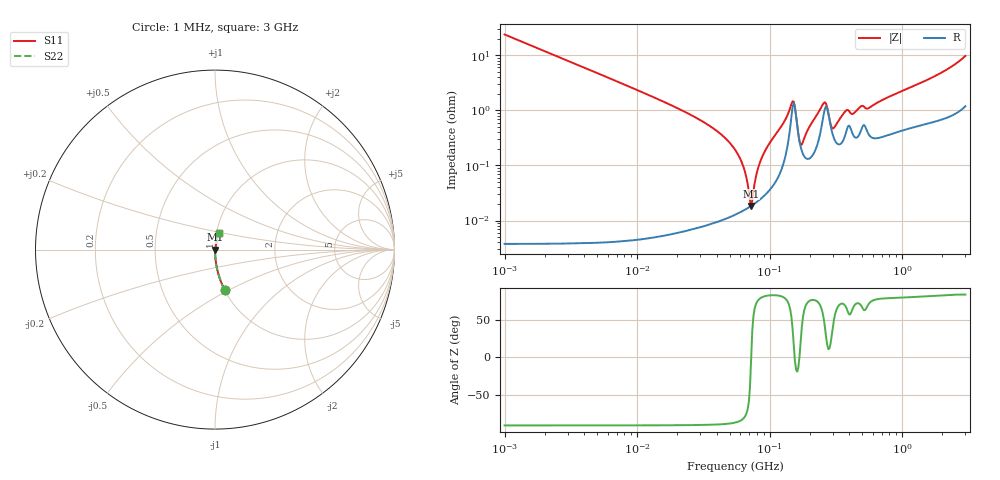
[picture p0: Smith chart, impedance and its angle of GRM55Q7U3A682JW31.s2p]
!Murata Part Number: GRM55Q7U3A682JW31
!These Parameters are Measured in Series Mode Connection
!Data Generated on Mar 30, 2021
!  o--ll--o
!Port1  Port2
!  o------o
!Operation Temp=25[degC], DC Bias Voltage=0[V]
!Freq. Start=1000[kHz] Stop=3[GHz] 401[Steps]
# Hz S RI R 50
!Freq.(Hz) S11(Real) S11(Imag) S21(Real) S21(Imag) S12(Real) S12(Imag) S22(Real) S22(Imag)
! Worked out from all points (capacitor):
!   401 points, 1 MHz to 3 GHz, reference 50 ohm
!   read as one part in series: C = 6.68 nF near 1.041 MHz
!   lowest |Z| = 18.4 mohm at 72.49 MHz (marker M1)
!   series resonance near 72.56 MHz, so ESL is about 720 pH
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1000000  0.0537 -0.2253  0.9463 0.2253  0.9463 0.2253  0.0537 -0.2253
3823119  0.00388 -0.0619  0.9961 0.0619  0.9961 0.0619  0.00388 -0.0619
1.461624e7  0.000296 -0.0157  0.9997 0.0157  0.9997 0.0157  0.000296 -0.0157
3.526298e7  0.000112 -0.00522  0.9999 0.00522  0.9999 0.00522  0.000112 -0.00522
5.477226e7  0.000131 -0.00194  0.9999 0.00194  0.9999 0.00194  0.000131 -0.00194
6.301011e7  0.000152 -0.000975  0.9998 0.000975  0.9998 0.000975  0.000152 -0.000975
7.248696e7  0.000184 -7.5e-06  0.9998 7.5e-06  0.9998 7.5e-06  0.000184 -7.5e-06
7.544761e7  0.000197 0.000276  0.9998 -0.000276  0.9998 -0.000276  0.000197 0.000276
8.173662e7  0.000227 0.000859  0.9998 -0.000859  0.9998 -0.000859  0.000227 0.000859
8.854986e7  0.000268 0.00148  0.9997 -0.00148  0.9997 -0.00148  0.000268 0.00148
1.460522e8  0.00783 0.0102  0.9922 -0.0102  0.9922 -0.0102  0.00783 0.0102
1.550909e8  0.0113 -0.000821  0.9887 0.000821  0.9887 0.000821  0.0113 -0.000821
1.714156e8  0.00218 0.000843  0.9978 -0.000843  0.9978 -0.000843  0.00218 0.000843
2.094008e8  0.00152 0.00589  0.9985 -0.00589  0.9985 -0.00589  0.00152 0.00589
2.558035e8  0.00852 0.0104  0.9915 -0.0104  0.9915 -0.0104  0.00852 0.0104
2.662515e8  0.0116 0.00607  0.9884 -0.00607  0.9884 -0.00607  0.0116 0.00607
2.942768e8  0.00422 0.00237  0.9958 -0.00237  0.9958 -0.00237  0.00422 0.00237
3.062963e8  0.00308 0.00371  0.9969 -0.00371  0.9969 -0.00371  0.00308 0.00371
3.741707e8  0.0038 0.00892  0.9962 -0.00892  0.9962 -0.00892  0.0038 0.00892
5.583748e8  0.00377 0.0102  0.9962 -0.0102  0.9962 -0.0102  0.00377 0.0102
8.005644e8  0.00389 0.0172  0.9961 -0.0172  0.9961 -0.0172  0.00389 0.0172
3e9  0.0206 0.0933  0.9794 -0.0933  0.9794 -0.0933  0.0206 0.0933
